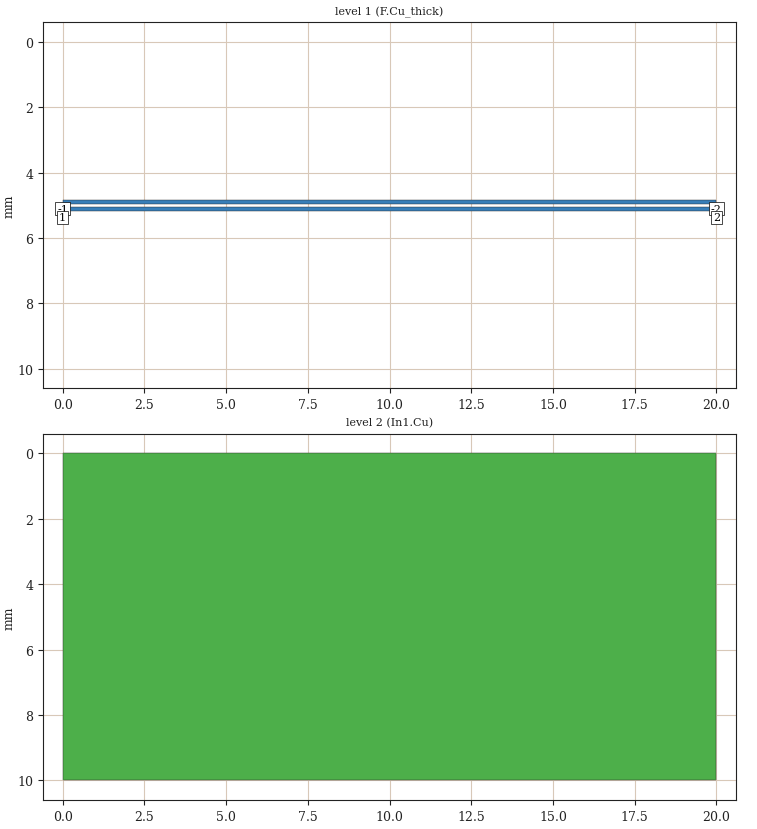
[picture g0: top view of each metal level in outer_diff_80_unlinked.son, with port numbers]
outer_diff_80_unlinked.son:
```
FTYP SONPROJ 19 ! Sonnet Project File
VER 18.52
HEADER
LIC antikernel2.1.51176
DAT 02/26/2022 12:02:19
BUILT_BY_CREATED xgeom 18.52 11/18/2021 20:28:07
BUILT_BY_SAVED sonnet 18.52
MDATE 02/26/2022 12:02:19
HDATE 02/26/2022 12:02:19
END HEADER
DIM
ANG DEG
CAP PF
CON /OH
FREQ GHZ
IND NH
LNG MM
RES OH
END DIM
CONTROL
VARSWP
OPTIONS  -dj
SPEED 0
CACHE_ABS 2
Q_ACC N
END CONTROL
GEO
TMET "Free Space" 0 FREESPACE 376.7303136 0 0 0
BMET "Free Space" 0 FREESPACE 376.7303136 0 0 0
MET "Copper_1oz_thin" 1 NOR 58000000 0.5 0.035 
MET "Copper_1oz_thick" 2 TMM 58000000 0.5 0.035 2
MET "Copper_1oz_thick_down" 3 TMM 58000000 0.5 0.035 2 CDVY TDWN
MET "Copper_0.5oz_thin" 4 NOR 58000000 0.5 0.017 
MET "Copper_0.5oz_thick" 12 TMM 58000000 0.5 0.017 2
MET "Copper_0.5oz_thick_down" 5 TMM 58000000 0.5 0.017 2 CDVY TDWN
BOX 10 20 10 4000 2000 20 0
      5 1 1 0 0 0 0 "Air"
      0.04 3.5 1 0.025 0 0 0 "Soldermask"
      0.075 3.9 1 0.008 0 0 0 "TU-872_SLK"
      0.1 3.9 1 0.008 0 0 0 "TU-872_SLK"
      0.143 3.9 1 0.008 0 0 0 "TU-872_SLK"
      0.7 4.49 1 0.016 0 0 0 "Shengyi_S1000-2M"
      0.143 3.9 1 0.008 0 0 0 "TU-872_SLK"
      0.1 3.9 1 0.008 0 0 0 "TU-872_SLK"
      0.075 3.9 1 0.008 0 0 0 "TU-872_SLK"
      0.04 3.5 1 0.025 0 0 0 "Soldermask"
      5 1 1 0 0 0 0 "Air"
TECHLAY METAL F.Cu_thin <UNSPECIFIED> -1 0 CAD F.Cu_thin drawing 
1 0 0 N 149 1 1 100 100 0 0 0 Y
END
END
TECHLAY METAL F.Cu_thick <UNSPECIFIED> -2 0 CAD F.Cu_thick drawing 
1 0 1 N 151 1 1 100 100 0 0 0 Y
END
END
TECHLAY VIA Via1 <UNSPECIFIED> -13 0 CAD Via1 drawing 
VIA POLYGON
1 0 -1 N 157 1 1 100 100 0 0 0 Y
TOLEVEL 8 RING NOCOVERS
END
END
TECHLAY METAL In1.Cu <UNSPECIFIED> -3 0 CAD In1.Cu drawing 
2 0 0 N 160 1 1 100 100 0 0 0 Y
END
END
TECHLAY METAL In2.Cu_thin <UNSPECIFIED> -4 0 CAD In2.Cu drawing 
3 0 3 N 163 1 1 100 100 0 0 0 Y
END
END
TECHLAY METAL In2.Cu_thick <UNSPECIFIED> -5 0 CAD In2.Cu_thick drawing 
3 0 4 N 165 1 1 100 100 0 0 0 Y
END
END
TECHLAY METAL In3.Cu <UNSPECIFIED> -6 0 CAD In3.Cu drawing 
4 0 0 N 168 1 1 100 100 0 0 0 Y
END
END
TECHLAY METAL In4.Cu <UNSPECIFIED> -7 0 CAD In4.Cu drawing 
5 0 0 N 173 1 1 100 100 0 0 0 Y
END
END
TECHLAY METAL In5.Cu_thin <UNSPECIFIED> -8 0 CAD In5.Cu drawing 
6 0 3 N 176 1 1 100 100 0 0 0 Y
END
END
TECHLAY METAL In5.Cu_thick <UNSPECIFIED> -9 0 CAD In5.Cu_thick drawing 
6 0 5 N 178 1 1 100 100 0 0 0 Y
END
END
TECHLAY METAL In6.Cu <UNSPECIFIED> -10 0 CAD In6.Cu drawing 
7 0 0 N 181 1 1 100 100 0 0 0 Y
END
END
TECHLAY METAL B.Cu_thin <UNSPECIFIED> -11 0 CAD B.Cu_thin drawing 
8 0 0 N 184 1 1 100 100 0 0 0 Y
END
END
TECHLAY METAL B.Cu_thick <UNSPECIFIED> -12 0 CAD B.Cu_thick drawing 
8 0 2 N 186 1 1 100 100 0 0 0 Y
END
END
VALVAR WIDTH LNG 0.14 "Dim. Param."
VALVAR CORE_ER NONE "table1(\"core_er.csv\",FREQ)" "Variable set in material file"
VALVAR CORE_DF NONE "table1(\"core_df.csv\",FREQ)" "Variable set in material file"
VALVAR PREPREG_DF NONE "table1(\"prepreg_df.csv\",FREQ)" "Variable set in material file"
VALVAR PREPREG_ER NONE "table1(\"prepreg_er.csv\",FREQ)" "Variable set in material file"
VALVAR SPACE LNG 0.07 "Dim. Param."
DIM STD YDIR -1
POS -0.176990271 -0.09526466207
NOM 0.13
REF1 POLY 104 1
3
REF2 POLY 104 1
0
END
DIM STD YDIR 1
POS -0.04840890721 0.06093824601
NOM 0.13
REF1 POLY 133 1
0
REF2 POLY 133 1
3
END
LORGN 0 10 U 
POR1 BOX
POLY 133 1
3
-1 80 0 0 0 0 5.105 
POR1 BOX
POLY 133 1
1
-2 80 0 0 0 20 5.105 
POR1 BOX
POLY 104 1
3
1 80 0 0 0 0 4.905 
POR1 BOX
POLY 104 1
1
2 80 0 0 0 20 4.905 
NUM 3
1 5 1 N 133 1 1 100 100 0 0 0 Y
TLAYNAM F.Cu_thick INH
0 5.04
20 5.04
20 5.17
0 5.17
0 5.04
END
1 5 1 N 104 1 1 100 100 0 0 0 Y
TLAYNAM F.Cu_thick INH
0 4.84
20 4.84
20 4.97
0 4.97
0 4.84
END
2 5 0 N 103 1 1 100 100 0 0 0 Y
TLAYNAM In1.Cu INH
0 0
20 0
20 10
0 10
0 0
END
END GEO
OPT
MAX 100
END OPT
VARSWP
ENABLED Y
FREQ Y AY ABS_ENTRY 0.001 16.0 -1 300 
VAR SPACE Y 0.08 0.14 0.02
END
END VARSWP
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```
